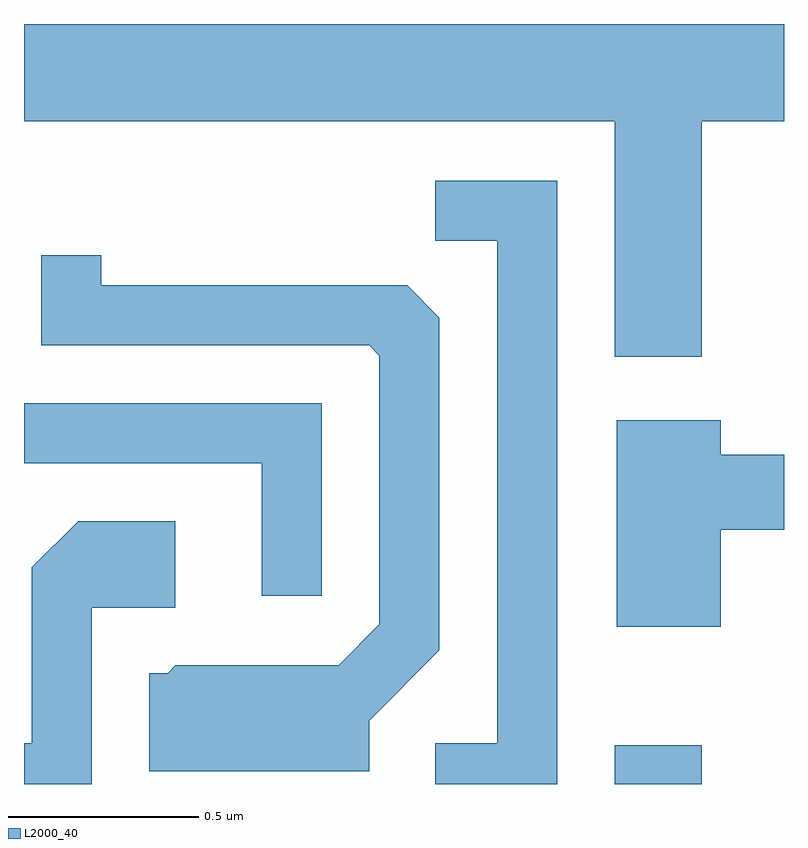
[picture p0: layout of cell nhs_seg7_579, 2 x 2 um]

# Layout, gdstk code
import gdstk
lib = gdstk.Library(unit=1e-6, precision=1e-09)
def R(c, l, rs):  # rectangles x0, y0, x1, y1
    for r in rs: c.add(gdstk.rectangle(r[:2], r[2:], *l))
def P(c, l, *ps):  # polygons
    for p in ps: c.add(gdstk.Polygon(p, *l))
L2000_40 = (2000, 40)

nhs_seg7_579 = lib.new_cell('nhs_seg7_579')
R(nhs_seg7_579, L2000_40, [(191.166,1699.252,191.394,1699.354)])
P(nhs_seg7_579, L2000_40, [(191.394,1700.996),(191.611,1700.996),(191.611,1701.252),(189.611,1701.252),(189.611,1700.996),(191.166,1700.996),(191.166,1700.376),(191.394,1700.376)],
  [(191.014,1700.839),(190.693,1700.839),(190.693,1700.681),(190.856,1700.681),(190.856,1699.359),(190.693,1699.359),(190.693,1699.252),(191.014,1699.252)],
  [(190.519,1699.419),(190.704,1699.604),(190.704,1700.479),(190.619,1700.564),(189.814,1700.564),(189.814,1700.643),(189.656,1700.643),(189.656,1700.406),(190.519,1700.406),(190.546,1700.379),(190.546,1699.672),(190.439,1699.564),(190.009,1699.564),(189.989,1699.544),(189.941,1699.544),(189.941,1699.286),(190.519,1699.286)],
  [(190.394,1700.254),(189.611,1700.254),(189.611,1700.096),(190.236,1700.096),(190.236,1699.748),(190.394,1699.748)],
  [(191.444,1699.921),(191.611,1699.921),(191.611,1700.119),(191.444,1700.119),(191.444,1700.209),(191.171,1700.209),(191.171,1699.666),(191.444,1699.666)],
  [(189.789,1699.716),(190.009,1699.716),(190.009,1699.944),(189.754,1699.944),(189.631,1699.822),(189.631,1699.359),(189.611,1699.359),(189.611,1699.252),(189.789,1699.252)])

lib.write_gds('nhs_seg7_579.gds')
